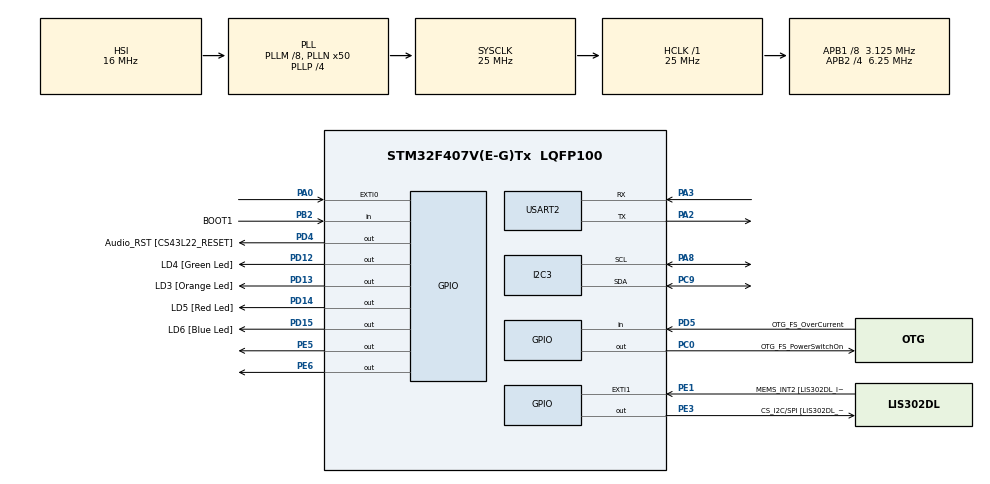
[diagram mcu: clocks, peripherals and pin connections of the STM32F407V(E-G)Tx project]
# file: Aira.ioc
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I2C3.OwnAddress=42
Mcu.Family=STM32F4
Mcu.Name=STM32F407V(E-G)Tx
Mcu.Package=LQFP100
NVIC.PriorityGroup=NVIC_PRIORITYGROUP_0
PA0-WKUP.Signal=GPXTI0
PA10.GPIO_Label=OTG_FS_ID
PA10.GPIO_Mode=GPIO_MODE_AF_PP
PA10.GPIO_PuPd=GPIO_NOPULL
PA10.GPIO_Speed=GPIO_SPEED_FREQ_LOW
PA10.Signal=USB_OTG_FS_ID
PA11.GPIO_Label=OTG_FS_DM
PA11.GPIO_Mode=GPIO_MODE_AF_PP
PA11.GPIO_PuPd=GPIO_NOPULL
PA11.GPIO_Speed=GPIO_SPEED_FREQ_LOW
PA11.Signal=USB_OTG_FS_DM
PA12.GPIO_Label=OTG_FS_DP
PA12.GPIO_Mode=GPIO_MODE_AF_PP
PA12.GPIO_PuPd=GPIO_NOPULL
PA12.GPIO_Speed=GPIO_SPEED_FREQ_LOW
PA12.Signal=USB_OTG_FS_DP
PA13.GPIO_Label=SWDIO
PA13.Signal=SYS_JTMS-SWDIO
PA14.GPIO_Label=SWCLK
PA14.Signal=SYS_JTCK-SWCLK
PA2.Mode=Asynchronous
PA2.Signal=USART2_TX
PA3.Mode=Asynchronous
PA3.Signal=USART2_RX
PA4.GPIO_Label=I2S3_WS [CS43L22_LRCK]
PA4.GPIO_Mode=GPIO_MODE_AF_PP
PA4.GPIO_PuPd=GPIO_NOPULL
PA4.GPIO_Speed=GPIO_SPEED_FREQ_LOW
PA4.Signal=I2S3_WS
PA5.GPIO_Label=SPI1_SCK [LIS302DL_SCL/SPC]
PA5.GPIO_Mode=GPIO_MODE_AF_PP
PA5.GPIO_PuPd=GPIO_NOPULL
PA5.GPIO_Speed=GPIO_SPEED_FREQ_LOW
PA5.Signal=SPI1_SCK
PA6.GPIO_Label=SPI1_MISO [LIS302DL_SDO]
PA6.GPIO_Mode=GPIO_MODE_AF_PP
PA6.GPIO_PuPd=GPIO_NOPULL
PA6.GPIO_Speed=GPIO_SPEED_FREQ_LOW
PA6.Signal=SPI1_MISO
PA7.GPIO_Label=SPI1_MOSI [LIS302DL_SDA/SDI/SDO]
PA7.GPIO_Mode=GPIO_MODE_AF_PP
PA7.GPIO_PuPd=GPIO_NOPULL
PA7.GPIO_Speed=GPIO_SPEED_FREQ_LOW
PA7.Signal=SPI1_MOSI
PA8.Mode=I2C
PA8.Signal=I2C3_SCL
PA9.GPIO_Label=VBUS_FS
PA9.GPIO_Mode=GPIO_MODE_INPUT
PA9.GPIO_PuPd=GPIO_NOPULL
PA9.Signal=USB_OTG_FS_VBUS
PB10.GPIO_Label=CLK_IN [MP45DT02_CLK]
PB10.GPIO_Mode=GPIO_MODE_AF_PP
PB10.GPIO_PuPd=GPIO_NOPULL
PB10.GPIO_Speed=GPIO_SPEED_FREQ_LOW
PB10.Signal=I2S2_CK
PB2.GPIO_Label=BOOT1
PB2.GPIO_Mode=GPIO_MODE_INPUT
PB2.GPIO_PuPd=GPIO_NOPULL
PB2.Signal=GPIO_Input
PB3.GPIO_Label=SWO
PB3.Signal=SYS_JTDO-SWO
PB6.GPIO_Label=Audio_SCL [CS43L22_SCL]
PB6.GPIO_Mode=GPIO_MODE_AF_OD
PB6.GPIO_PuPd=GPIO_NOPULL
PB6.GPIO_Speed=GPIO_SPEED_FREQ_LOW
PB6.Signal=I2C1_SCL
PB9.GPIO_Label=Audio_SDA [CS43L22_SDA]
PB9.GPIO_Mode=GPIO_MODE_AF_OD
PB9.GPIO_PuPd=GPIO_NOPULL
PB9.GPIO_Speed=GPIO_SPEED_FREQ_LOW
PB9.Signal=I2C1_SDA
PC0.GPIO_Label=OTG_FS_PowerSwitchOn
PC0.GPIO_PuPd=GPIO_NOPULL
PC0.GPIO_Speed=GPIO_SPEED_FREQ_LOW
PC0.PinState=GPIO_PIN_SET
PC0.Signal=GPIO_Output
PC10.GPIO_Label=I2S3_SCK [CS43L22_SCLK]
PC10.GPIO_Mode=GPIO_MODE_AF_PP
PC10.GPIO_PuPd=GPIO_NOPULL
PC10.GPIO_Speed=GPIO_SPEED_FREQ_LOW
PC10.Signal=I2S3_CK
PC12.GPIO_Label=I2S3_SD [CS43L22_SDIN]
PC12.GPIO_Mode=GPIO_MODE_AF_PP
PC12.GPIO_PuPd=GPIO_NOPULL
PC12.GPIO_Speed=GPIO_SPEED_FREQ_LOW
PC12.Signal=I2S3_SD
PC14-OSC32_IN.GPIO_Label=PC14-OSC32_IN
PC14-OSC32_IN.Signal=RCC_OSC32_IN
PC15-OSC32_OUT.GPIO_Label=PC15-OSC32_OUT
PC15-OSC32_OUT.Signal=RCC_OSC32_OUT
PC3.GPIO_Label=PDM_OUT [MP45DT02_DOUT]
PC3.GPIO_Mode=GPIO_MODE_AF_PP
PC3.GPIO_PuPd=GPIO_NOPULL
PC3.GPIO_Speed=GPIO_SPEED_FREQ_LOW
PC3.Signal=I2S2_SD
PC7.GPIO_Label=I2S3_MCK [CS43L22_MCLK]
PC7.GPIO_Mode=GPIO_MODE_AF_PP
PC7.GPIO_PuPd=GPIO_NOPULL
PC7.GPIO_Speed=GPIO_SPEED_FREQ_LOW
PC7.Signal=I2S3_MCK
PC9.Mode=I2C
PC9.Signal=I2C3_SDA
PD12.GPIO_Label=LD4 [Green Led]
PD12.GPIO_PuPd=GPIO_NOPULL
PD12.GPIO_Speed=GPIO_SPEED_FREQ_LOW
PD12.Signal=GPIO_Output
PD13.GPIO_Label=LD3 [Orange Led]
PD13.GPIO_PuPd=GPIO_NOPULL
PD13.GPIO_Speed=GPIO_SPEED_FREQ_LOW
PD13.Signal=GPIO_Output
PD14.GPIO_Label=LD5 [Red Led]
PD14.GPIO_PuPd=GPIO_NOPULL
PD14.GPIO_Speed=GPIO_SPEED_FREQ_LOW
PD14.Signal=GPIO_Output
PD15.GPIO_Label=LD6 [Blue Led]
PD15.GPIO_PuPd=GPIO_NOPULL
PD15.GPIO_Speed=GPIO_SPEED_FREQ_LOW
PD15.Signal=GPIO_Output
PD4.GPIO_Label=Audio_RST [CS43L22_RESET]
PD4.GPIO_PuPd=GPIO_NOPULL
PD4.GPIO_Speed=GPIO_SPEED_FREQ_LOW
PD4.Signal=GPIO_Output
PD5.GPIO_Label=OTG_FS_OverCurrent
PD5.GPIO_Mode=GPIO_MODE_INPUT
PD5.GPIO_PuPd=GPIO_NOPULL
PD5.Signal=GPIO_Input
PE1.GPIO_Label=MEMS_INT2 [LIS302DL_INT2]
PE1.GPIO_ModeDefaultEXTI=GPIO_MODE_EVT_RISING
PE1.GPIO_PuPd=GPIO_NOPULL
PE1.Signal=GPXTI1
PE3.GPIO_Label=CS_I2C/SPI [LIS302DL_CS_I2C/SPI]
PE3.GPIO_PuPd=GPIO_NOPULL
PE3.GPIO_Speed=GPIO_SPEED_FREQ_LOW
PE3.Signal=GPIO_Output
PE5.Signal=GPIO_Output
PE6.Signal=GPIO_Output
PH0-OSC_IN.GPIO_Label=PH0-OSC_IN
PH0-OSC_IN.Signal=RCC_OSC_IN
PH1-OSC_OUT.GPIO_Label=PH1-OSC_OUT
PH1-OSC_OUT.Signal=RCC_OSC_OUT
ProjectManager.HeapSize=0x200
ProjectManager.StackSize=0x400
ProjectManager.TargetToolchain=SW4STM32
RCC.48MHZClocksFreq_Value=14285714.285714285
RCC.AHBFreq_Value=25000000
RCC.APB1CLKDivider=RCC_HCLK_DIV8
RCC.APB1Freq_Value=3125000
RCC.APB1TimFreq_Value=6250000
RCC.APB2CLKDivider=RCC_HCLK_DIV4
RCC.APB2Freq_Value=6250000
RCC.APB2TimFreq_Value=12500000
RCC.CortexFreq_Value=25000000
RCC.HCLKFreq_Value=25000000
RCC.HSE_VALUE=8000000
RCC.HSI_VALUE=16000000
RCC.LSE_VALUE=32768
RCC.PLLM=8
RCC.PLLN=50
RCC.PLLP=RCC_PLLP_DIV4
RCC.PLLQ=7
RCC.SYSCLKFreq_VALUE=25000000
RCC.SYSCLKSource=RCC_SYSCLKSOURCE_PLLCLK
RCC.VCOOutputFreq_Value=100000000
USART2.VirtualMode=VM_ASYNC
board=STM32F4DISCOVERY

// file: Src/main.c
/* USER CODE BEGIN Header */
/**
  ******************************************************************************
  * @file           : main.c
  * @brief          : Main program body
  ******************************************************************************
  ** This notice applies to any and all portions of this file
  * that are not between comment pairs USER CODE BEGIN and
  * USER CODE END. Other portions of this file, whether
  * inserted by the user or by software development tools
  * are owned by their respective copyright owners.
  *
  * COPYRIGHT(c) 2018 STMicroelectronics
  *
  * Redistribution and use in source and binary forms, with or without modification,
  * are permitted provided that the following conditions are met:
  *   1. Redistributions of source code must retain the above copyright notice,
  *      this list of conditions and the following disclaimer.
  *   2. Redistributions in binary form must reproduce the above copyright notice,
  *      this list of conditions and the following disclaimer in the documentation
  *      and/or other materials provided with the distribution.
  *   3. Neither the name of STMicroelectronics nor the names of its contributors
  *      may be used to endorse or promote products derived from this software
  *      without specific prior written permission.
  *
  * THIS SOFTWARE IS PROVIDED BY THE COPYRIGHT HOLDERS AND CONTRIBUTORS "AS IS"
  * AND ANY EXPRESS OR IMPLIED WARRANTIES, INCLUDING, BUT NOT LIMITED TO, THE
  * IMPLIED WARRANTIES OF MERCHANTABILITY AND FITNESS FOR A PARTICULAR PURPOSE ARE
  * DISCLAIMED. IN NO EVENT SHALL THE COPYRIGHT HOLDER OR CONTRIBUTORS BE LIABLE
  * FOR ANY DIRECT, INDIRECT, INCIDENTAL, SPECIAL, EXEMPLARY, OR CONSEQUENTIAL
  * DAMAGES (INCLUDING, BUT NOT LIMITED TO, PROCUREMENT OF SUBSTITUTE GOODS OR
  * SERVICES; LOSS OF USE, DATA, OR PROFITS; OR BUSINESS INTERRUPTION) HOWEVER
  * CAUSED AND ON ANY THEORY OF LIABILITY, WHETHER IN CONTRACT, STRICT LIABILITY,
  * OR TORT (INCLUDING NEGLIGENCE OR OTHERWISE) ARISING IN ANY WAY OUT OF THE USE
  * OF THIS SOFTWARE, EVEN IF ADVISED OF THE POSSIBILITY OF SUCH DAMAGE.
  *
  ******************************************************************************
  */
/* USER CODE END Header */

#include "main.h"

I2C_HandleTypeDef hi2c3;

UART_HandleTypeDef huart2;

/* USER CODE BEGIN PV */
uint8_t AIRQ_Initialized = 0;

/* USER CODE END PV */

void SystemClock_Config(void);
static void MX_GPIO_Init(void);
static void MX_USART2_UART_Init(void);
static void MX_I2C3_Init(void);
/* USER CODE BEGIN PFP */
/*
 CCS811 Air Quality Sensor Example Code --(Adjusted to fit our use-case -Abdil)
 By: Nathan Seidle
 SparkFun Electronics
 Date: February 7th, 2017
 License: This code is public domain but you buy me a beer if you use this and we meet someday (Beerware license).

 Read the TVOC and CO2 values from the SparkFun CSS811 breakout board

 A new sensor requires at 48-burn in. Once burned in a sensor requires
 20 minutes of run in before readings are considered good.

 Hardware Connections (Breakoutboard to Arduino):
 3.3V = 3.3V
 GND = GND
 SDA = A4
 SCL = A5
 WAKE = D5 - Optional, can be left unconnected
 */
#define CCS811_ADDR 0x5A //7-bit unshifted default I2C Address
//uint8_t CCS811_ADDR;
#define WAKE 13 //!Wake on breakout connected to pin 5 on Arduino

//Register addresses
#define CSS811_STATUS 0x00
#define CSS811_MEAS_MODE 0x01
#define CSS811_ALG_RESULT_DATA 0x02
#define CSS811_RAW_DATA 0x03
#define CSS811_ENV_DATA 0x05
#define CSS811_NTC 0x06
#define CSS811_THRESHOLDS 0x10
#define CSS811_BASELINE 0x11
#define CSS811_HW_ID 0x20
#define CSS811_HW_VERSION 0x21
#define CSS811_FW_BOOT_VERSION 0x23
#define CSS811_FW_APP_VERSION 0x24
#define CSS811_ERROR_ID 0xE0
#define CSS811_APP_START 0xF4
#define CSS811_SW_RESET 0xFF

void AIRQ_WRITE_REGISTER(uint8_t reg, uint8_t value) {
	uint8_t pData[] = { reg, value };
	HAL_I2C_Master_Transmit(&hi2c3, CCS811_ADDR << 1, pData, 2, HAL_MAX_DELAY);
}

void AIRQ_WRITE_REGISTER_NO_VAL(uint8_t reg) {
	HAL_I2C_Master_Transmit(&hi2c3, CCS811_ADDR << 1, &reg, 1, HAL_MAX_DELAY);
}

void AIRQ_READ_REGISTER(uint8_t* buf, uint8_t reg, uint8_t burstSize) {
	//uint8_t buf[burstSize];
	//reallocate for changeing burst, thus buffer size in bytes to read from the i2c channel
	// Make the array bigger
	uint8_t* reallocated_buf = realloc(buf, burstSize * sizeof(uint8_t));
	buf = reallocated_buf;

	//uint8_t (*out)[burstSize] = &buf;
	//int status =...
//	HAL_I2C_Mem_Read(&hi2c3, CCS811_ADDR << 1, reg, I2C_MEMADD_SIZE_8BIT, buf,
//			burstSize, HAL_MAX_DELAY);
	buf[0] = reg;
	HAL_I2C_Master_Transmit(&hi2c3, CCS811_ADDR << 1, buf, 1, 1000);
	HAL_I2C_Master_Receive(&hi2c3, CCS811_ADDR << 1, buf, burstSize, 1000);
}

/*Hardware ID (0x20) Register Handling
 The hardware ID register, sometimes referred to as the ‘Who Am I’ register, can be read during CCS811
 initialization to ensure that the device is indeed a CCS811. When this mailbox is the target of a read its proxy
 register will return the value 0x81. To read this register the host software would perform the following:*/
int AIRQ_Init(uint8_t* buf) {
	char str[200];

	AIRQ_READ_REGISTER(buf, 0x20, 1);

	sprintf(str, "HW ID : %d actual %d\r\n", buf[0], CCS811_ADDR<<1);
//	HAL_UART_Transmit(&huart2, (uint8_t*) str, strlen(str), HAL_MAX_DELAY);

	if (buf[0] == 0x81) {
		AIRQ_Initialized = 1;
		//if HW ID is correct, start the application by writing to the start app register address/mailbox
		AIRQ_WRITE_REGISTER_NO_VAL(CSS811_APP_START);
		return 1;
	} else
		return 0;
}

/* Checks for the HW ID,  */
void configureCCS811(uint8_t* buf) {
	//Verify the hardware ID
	//Hardware ID should be 0x81
	AIRQ_Init(buf);
//	if (AIRQ_Init(buf) == 1) {
//		HAL_UART_Transmit(&huart2, (uint8_t*) "CCS811 Found \r\n",
//				strlen("CCS811 Found \r\n"), HAL_MAX_DELAY);
//
//	} else
//		HAL_UART_Transmit(&huart2,
//				(uint8_t*) "CCS811 not found. Please check wiring. \r\n",
//				strlen("CCS811 not found. Please check wiring. \r\n"),
//				HAL_MAX_DELAY);

	//Adjust the measurement mode, using a mask.
	//DRIVE_MODE : a measurement is performed every second
	//INTERRUPT : The nINT signal is asserted (driven low) when a new sample is ready in
	//ALG_RESULT_DATA. The nINT signal will stop being driven low when
	//ALG_RESULT_DATA is read on the I
	//2C interface.
	//Make sure to pass the buffer pointer and the buffer size, so memory reallocation is done accordingly
	AIRQ_READ_REGISTER(buf, CSS811_MEAS_MODE, 1);
	buf[0] &= 0b10000111;
	buf[0] |= 0b00011000;
	AIRQ_WRITE_REGISTER(CSS811_MEAS_MODE, buf[0]);

//	HAL_UART_Transmit(&huart2, (uint8_t*) "Init successful \r\n",
//			strlen("Init successful \r\n"), HAL_MAX_DELAY);

}
/* USER CODE END PFP */

/* USER CODE BEGIN 0 */
uint16_t CO2=0;
uint16_t tVOC=0;
/* USER CODE END 0 */

int main(void)
{
  /* USER CODE BEGIN 1 */
	uint8_t* buf = malloc(8 * sizeof(uint8_t));

  /* USER CODE END 1 */

  /* MCU Configuration--------------------------------------------------------*/

  /* Reset of all peripherals, Initializes the Flash interface and the Systick. */
  HAL_Init();

  /* Configure the system clock */
  SystemClock_Config();

  /* Initialize all configured peripherals */
  MX_GPIO_Init();
  MX_USART2_UART_Init();
  MX_I2C3_Init();
  /* USER CODE BEGIN 2 */
  HAL_I2C_Init(&hi2c3);
//  hi2c3.Init.OwnAddress1= 42;

  /* Configure the air quality measurement sensor */
  	configureCCS811(buf);

  	/* define a burstsize for the number of bytes to read in the buffer */
  	int burstSize = 4;

  	//this bit is only to make continuous prints visible in xterm by using alternating dots
  	//int i = 0;
  	//char *dots[] = { ".", "..", "...", "....", ".....", "......", ".......","........" };

  /* USER CODE END 2 */

  /* Infinite loop */
  /* USER CODE BEGIN WHILE */
  while (1)
  {
	  //Read at least once after configuration, so the sensor triggers a "new value interrupt"
	    	AIRQ_READ_REGISTER(buf, CSS811_ALG_RESULT_DATA, burstSize);
	    	char str[200];

	    	CO2 = (buf[0] << 8) | buf[1];
	    	tVOC = (buf[2] << 8) | buf[3];

	    	//sprintf(str, "CO2 : %d \t , \t tVOC : %d %s\r\n", CO2, tVOC,dots[i]);
//	    	sprintf(str, "CO2 = %d tVOC = %d %d\r\n", CO2, tVOC,CCS811_ADDR);
	    	sprintf(str, "CO2=%d|", CO2);

	    	HAL_UART_Transmit(&huart2,str, strlen(str), HAL_MAX_DELAY);

	  HAL_Delay(2000);
    /* USER CODE END WHILE */

  }
}

void SystemClock_Config(void)
{
  RCC_OscInitTypeDef RCC_OscInitStruct = {0};
  RCC_ClkInitTypeDef RCC_ClkInitStruct = {0};

  /**Configure the main internal regulator output voltage
  */
  __HAL_RCC_PWR_CLK_ENABLE();
  __HAL_PWR_VOLTAGESCALING_CONFIG(PWR_REGULATOR_VOLTAGE_SCALE1);
  /**Initializes the CPU, AHB and APB busses clocks
  */
  RCC_OscInitStruct.OscillatorType = RCC_OSCILLATORTYPE_HSI;
  RCC_OscInitStruct.HSIState = RCC_HSI_ON;
  RCC_OscInitStruct.HSICalibrationValue = RCC_HSICALIBRATION_DEFAULT;
  RCC_OscInitStruct.PLL.PLLState = RCC_PLL_ON;
  RCC_OscInitStruct.PLL.PLLSource = RCC_PLLSOURCE_HSI;
  RCC_OscInitStruct.PLL.PLLM = 8;
  RCC_OscInitStruct.PLL.PLLN = 50;
  RCC_OscInitStruct.PLL.PLLP = RCC_PLLP_DIV4;
  RCC_OscInitStruct.PLL.PLLQ = 7;
  if (HAL_RCC_OscConfig(&RCC_OscInitStruct) != HAL_OK)
  {
    Error_Handler();
  }
  /**Initializes the CPU, AHB and APB busses clocks
  */
  RCC_ClkInitStruct.ClockType = RCC_CLOCKTYPE_HCLK|RCC_CLOCKTYPE_SYSCLK
                              |RCC_CLOCKTYPE_PCLK1|RCC_CLOCKTYPE_PCLK2;
  RCC_ClkInitStruct.SYSCLKSource = RCC_SYSCLKSOURCE_PLLCLK;
  RCC_ClkInitStruct.AHBCLKDivider = RCC_SYSCLK_DIV1;
  RCC_ClkInitStruct.APB1CLKDivider = RCC_HCLK_DIV8;
  RCC_ClkInitStruct.APB2CLKDivider = RCC_HCLK_DIV4;

  if (HAL_RCC_ClockConfig(&RCC_ClkInitStruct, FLASH_LATENCY_0) != HAL_OK)
  {
    Error_Handler();
  }
}

static void MX_I2C3_Init(void)
{

  hi2c3.Instance = I2C3;
  hi2c3.Init.ClockSpeed = 100000;
  hi2c3.Init.DutyCycle = I2C_DUTYCYCLE_2;
  hi2c3.Init.OwnAddress1 = 90;
  hi2c3.Init.AddressingMode = I2C_ADDRESSINGMODE_7BIT;
  hi2c3.Init.DualAddressMode = I2C_DUALADDRESS_DISABLE;
  hi2c3.Init.OwnAddress2 = 0;
  hi2c3.Init.GeneralCallMode = I2C_GENERALCALL_DISABLE;
  hi2c3.Init.NoStretchMode = I2C_NOSTRETCH_DISABLE;
  if (HAL_I2C_Init(&hi2c3) != HAL_OK)
  {
    Error_Handler();
  }

}

static void MX_USART2_UART_Init(void)
{

  huart2.Instance = USART2;
  huart2.Init.BaudRate = 115200;
  huart2.Init.WordLength = UART_WORDLENGTH_8B;
  huart2.Init.StopBits = UART_STOPBITS_1;
  huart2.Init.Parity = UART_PARITY_NONE;
  huart2.Init.Mode = UART_MODE_TX_RX;
  huart2.Init.HwFlowCtl = UART_HWCONTROL_NONE;
  huart2.Init.OverSampling = UART_OVERSAMPLING_16;
  if (HAL_UART_Init(&huart2) != HAL_OK)
  {
    Error_Handler();
  }

}

static void MX_GPIO_Init(void)
{
  GPIO_InitTypeDef GPIO_InitStruct = {0};

  /* GPIO Ports Clock Enable */
  __HAL_RCC_GPIOE_CLK_ENABLE();
  __HAL_RCC_GPIOC_CLK_ENABLE();
  __HAL_RCC_GPIOH_CLK_ENABLE();
  __HAL_RCC_GPIOA_CLK_ENABLE();
  __HAL_RCC_GPIOB_CLK_ENABLE();
  __HAL_RCC_GPIOD_CLK_ENABLE();

  /*Configure GPIO pin Output Level */
  HAL_GPIO_WritePin(GPIOE, CS_I2C_SPI_Pin|GPIO_PIN_5|GPIO_PIN_6, GPIO_PIN_RESET);

  /*Configure GPIO pin Output Level */
  HAL_GPIO_WritePin(OTG_FS_PowerSwitchOn_GPIO_Port, OTG_FS_PowerSwitchOn_Pin, GPIO_PIN_SET);

  /*Configure GPIO pin Output Level */
  HAL_GPIO_WritePin(GPIOD, LD4_Pin|LD3_Pin|LD5_Pin|LD6_Pin
                          |Audio_RST_Pin, GPIO_PIN_RESET);

  /*Configure GPIO pins : CS_I2C_SPI_Pin PE5 PE6 */
  GPIO_InitStruct.Pin = CS_I2C_SPI_Pin|GPIO_PIN_5|GPIO_PIN_6;
  GPIO_InitStruct.Mode = GPIO_MODE_OUTPUT_PP;
  GPIO_InitStruct.Pull = GPIO_NOPULL;
  GPIO_InitStruct.Speed = GPIO_SPEED_FREQ_LOW;
  HAL_GPIO_Init(GPIOE, &GPIO_InitStruct);

  /*Configure GPIO pin : OTG_FS_PowerSwitchOn_Pin */
  GPIO_InitStruct.Pin = OTG_FS_PowerSwitchOn_Pin;
  GPIO_InitStruct.Mode = GPIO_MODE_OUTPUT_PP;
  GPIO_InitStruct.Pull = GPIO_NOPULL;
  GPIO_InitStruct.Speed = GPIO_SPEED_FREQ_LOW;
  HAL_GPIO_Init(OTG_FS_PowerSwitchOn_GPIO_Port, &GPIO_InitStruct);

  /*Configure GPIO pin : PDM_OUT_Pin */
  GPIO_InitStruct.Pin = PDM_OUT_Pin;
  GPIO_InitStruct.Mode = GPIO_MODE_AF_PP;
  GPIO_InitStruct.Pull = GPIO_NOPULL;
  GPIO_InitStruct.Speed = GPIO_SPEED_FREQ_LOW;
  GPIO_InitStruct.Alternate = GPIO_AF5_SPI2;
  HAL_GPIO_Init(PDM_OUT_GPIO_Port, &GPIO_InitStruct);

  /*Configure GPIO pin : PA0 */
  GPIO_InitStruct.Pin = GPIO_PIN_0;
  GPIO_InitStruct.Mode = GPIO_MODE_IT_RISING;
  GPIO_InitStruct.Pull = GPIO_NOPULL;
  HAL_GPIO_Init(GPIOA, &GPIO_InitStruct);

  /*Configure GPIO pin : I2S3_WS_Pin */
  GPIO_InitStruct.Pin = I2S3_WS_Pin;
  GPIO_InitStruct.Mode = GPIO_MODE_AF_PP;
  GPIO_InitStruct.Pull = GPIO_NOPULL;
  GPIO_InitStruct.Speed = GPIO_SPEED_FREQ_LOW;
  GPIO_InitStruct.Alternate = GPIO_AF6_SPI3;
  HAL_GPIO_Init(I2S3_WS_GPIO_Port, &GPIO_InitStruct);

  /*Configure GPIO pins : SPI1_SCK_Pin SPI1_MISO_Pin SPI1_MOSI_Pin */
  GPIO_InitStruct.Pin = SPI1_SCK_Pin|SPI1_MISO_Pin|SPI1_MOSI_Pin;
  GPIO_InitStruct.Mode = GPIO_MODE_AF_PP;
  GPIO_InitStruct.Pull = GPIO_NOPULL;
  GPIO_InitStruct.Speed = GPIO_SPEED_FREQ_LOW;
  GPIO_InitStruct.Alternate = GPIO_AF5_SPI1;
  HAL_GPIO_Init(GPIOA, &GPIO_InitStruct);

  /*Configure GPIO pin : BOOT1_Pin */
  GPIO_InitStruct.Pin = BOOT1_Pin;
  GPIO_InitStruct.Mode = GPIO_MODE_INPUT;
  GPIO_InitStruct.Pull = GPIO_NOPULL;
  HAL_GPIO_Init(BOOT1_GPIO_Port, &GPIO_InitStruct);

  /*Configure GPIO pin : CLK_IN_Pin */
  GPIO_InitStruct.Pin = CLK_IN_Pin;
  GPIO_InitStruct.Mode = GPIO_MODE_AF_PP;
  GPIO_InitStruct.Pull = GPIO_NOPULL;
  GPIO_InitStruct.Speed = GPIO_SPEED_FREQ_LOW;
  GPIO_InitStruct.Alternate = GPIO_AF5_SPI2;
  HAL_GPIO_Init(CLK_IN_GPIO_Port, &GPIO_InitStruct);

  /*Configure GPIO pins : LD4_Pin LD3_Pin LD5_Pin LD6_Pin
                           Audio_RST_Pin */
  GPIO_InitStruct.Pin = LD4_Pin|LD3_Pin|LD5_Pin|LD6_Pin
                          |Audio_RST_Pin;
  GPIO_InitStruct.Mode = GPIO_MODE_OUTPUT_PP;
  GPIO_InitStruct.Pull = GPIO_NOPULL;
  GPIO_InitStruct.Speed = GPIO_SPEED_FREQ_LOW;
  HAL_GPIO_Init(GPIOD, &GPIO_InitStruct);

  /*Configure GPIO pins : I2S3_MCK_Pin I2S3_SCK_Pin I2S3_SD_Pin */
  GPIO_InitStruct.Pin = I2S3_MCK_Pin|I2S3_SCK_Pin|I2S3_SD_Pin;
  GPIO_InitStruct.Mode = GPIO_MODE_AF_PP;
  GPIO_InitStruct.Pull = GPIO_NOPULL;
  GPIO_InitStruct.Speed = GPIO_SPEED_FREQ_LOW;
  GPIO_InitStruct.Alternate = GPIO_AF6_SPI3;
  HAL_GPIO_Init(GPIOC, &GPIO_InitStruct);

  /*Configure GPIO pin : VBUS_FS_Pin */
  GPIO_InitStruct.Pin = VBUS_FS_Pin;
  GPIO_InitStruct.Mode = GPIO_MODE_INPUT;
  GPIO_InitStruct.Pull = GPIO_NOPULL;
  HAL_GPIO_Init(VBUS_FS_GPIO_Port, &GPIO_InitStruct);

  /*Configure GPIO pins : OTG_FS_ID_Pin OTG_FS_DM_Pin OTG_FS_DP_Pin */
  GPIO_InitStruct.Pin = OTG_FS_ID_Pin|OTG_FS_DM_Pin|OTG_FS_DP_Pin;
  GPIO_InitStruct.Mode = GPIO_MODE_AF_PP;
  GPIO_InitStruct.Pull = GPIO_NOPULL;
  GPIO_InitStruct.Speed = GPIO_SPEED_FREQ_LOW;
  GPIO_InitStruct.Alternate = GPIO_AF10_OTG_FS;
  HAL_GPIO_Init(GPIOA, &GPIO_InitStruct);

  /*Configure GPIO pin : OTG_FS_OverCurrent_Pin */
  GPIO_InitStruct.Pin = OTG_FS_OverCurrent_Pin;
  GPIO_InitStruct.Mode = GPIO_MODE_INPUT;
  GPIO_InitStruct.Pull = GPIO_NOPULL;
  HAL_GPIO_Init(OTG_FS_OverCurrent_GPIO_Port, &GPIO_InitStruct);

  /*Configure GPIO pins : Audio_SCL_Pin Audio_SDA_Pin */
  GPIO_InitStruct.Pin = Audio_SCL_Pin|Audio_SDA_Pin;
  GPIO_InitStruct.Mode = GPIO_MODE_AF_OD;
  GPIO_InitStruct.Pull = GPIO_PULLUP;
  GPIO_InitStruct.Speed = GPIO_SPEED_FREQ_LOW;
  GPIO_InitStruct.Alternate = GPIO_AF4_I2C1;
  HAL_GPIO_Init(GPIOB, &GPIO_InitStruct);

  /*Configure GPIO pin : MEMS_INT2_Pin */
  GPIO_InitStruct.Pin = MEMS_INT2_Pin;
  GPIO_InitStruct.Mode = GPIO_MODE_EVT_RISING;
  GPIO_InitStruct.Pull = GPIO_NOPULL;
  HAL_GPIO_Init(MEMS_INT2_GPIO_Port, &GPIO_InitStruct);

}

void Error_Handler(void)
{
}

/************************ (C) COPYRIGHT STMicroelectronics *****END OF FILE****/
